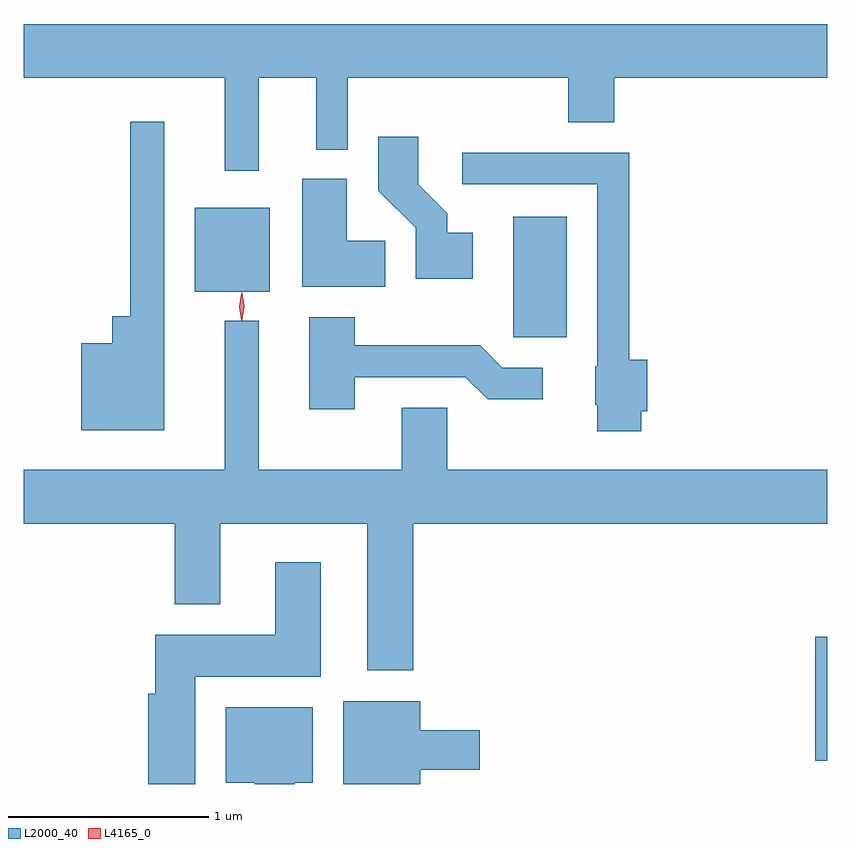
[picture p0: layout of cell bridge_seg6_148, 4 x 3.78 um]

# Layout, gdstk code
import gdstk
lib = gdstk.Library(unit=1e-6, precision=1e-09)
def R(c, l, rs):  # rectangles x0, y0, x1, y1
    for r in rs: c.add(gdstk.rectangle(r[:2], r[2:], *l))
def P(c, l, *ps):  # polygons
    for p in ps: c.add(gdstk.Polygon(p, *l))
L2000_40 = (2000, 40)
L4165_0 = (4165, 0)

bridge_seg6_148 = lib.new_cell('bridge_seg6_148')
R(bridge_seg6_148, L2000_40, [(1189.461,1584.376,1189.52,1584.994), (1187.956,1586.486,1188.224,1587.084), (1186.371,1586.711,1186.744,1587.129)])
P(bridge_seg6_148, L2000_40, [(1186.689,1587.776),(1186.976,1587.776),(1186.976,1587.418),(1187.134,1587.418),(1187.134,1587.776),(1188.231,1587.776),(1188.231,1587.556),(1188.459,1587.556),(1188.459,1587.776),(1189.52,1587.776),(1189.52,1588.044),(1185.52,1588.044),(1185.52,1587.776),(1186.521,1587.776),(1186.521,1587.313),(1186.689,1587.313)],
  [(1186.219,1587.558),(1186.051,1587.558),(1186.051,1586.589),(1185.961,1586.589),(1185.961,1586.454),(1185.806,1586.454),(1185.806,1586.021),(1186.219,1586.021)],
  [(1187.754,1587.004),(1187.629,1587.004),(1187.629,1587.102),(1187.484,1587.247),(1187.484,1587.484),(1187.286,1587.484),(1187.286,1587.214),(1187.471,1587.029),(1187.471,1586.776),(1187.754,1586.776)],
  [(1188.594,1586.116),(1188.624,1586.116),(1188.624,1586.374),(1188.534,1586.374),(1188.534,1587.404),(1187.703,1587.404),(1187.703,1587.246),(1188.376,1587.246),(1188.376,1586.34),(1188.366,1586.34),(1188.366,1586.15),(1188.376,1586.15),(1188.376,1586.016),(1188.594,1586.016)],
  [(1187.319,1586.964),(1187.129,1586.964),(1187.129,1587.274),(1186.906,1587.274),(1186.906,1586.736),(1187.319,1586.736)],
  [(1187.169,1586.286),(1187.719,1586.286),(1187.829,1586.176),(1188.103,1586.176),(1188.103,1586.334),(1187.902,1586.334),(1187.792,1586.444),(1187.169,1586.444),(1187.169,1586.584),(1186.941,1586.584),(1186.941,1586.126),(1187.169,1586.126)],
  [(1187.459,1585.556),(1189.52,1585.556),(1189.52,1585.824),(1187.629,1585.824),(1187.629,1586.134),(1187.401,1586.134),(1187.401,1585.824),(1186.689,1585.824),(1186.689,1586.568),(1186.521,1586.568),(1186.521,1585.824),(1185.52,1585.824),(1185.52,1585.556),(1186.271,1585.556),(1186.271,1585.156),(1186.499,1585.156),(1186.499,1585.556),(1187.231,1585.556),(1187.231,1584.826),(1187.459,1584.826)],
  [(1186.374,1584.796),(1186.999,1584.796),(1186.999,1585.364),(1186.771,1585.364),(1186.771,1585.004),(1186.176,1585.004),(1186.176,1584.709),(1186.141,1584.709),(1186.141,1584.261),(1186.374,1584.261)],
  [(1187.494,1584.331),(1187.789,1584.331),(1187.789,1584.529),(1187.494,1584.529),(1187.494,1584.674),(1187.111,1584.674),(1187.111,1584.261),(1187.494,1584.261)],
  [(1186.869,1584.266),(1186.959,1584.266),(1186.959,1584.644),(1186.526,1584.644),(1186.526,1584.266),(1186.671,1584.266),(1186.671,1584.261),(1186.869,1584.261)])
P(bridge_seg6_148, L4165_0, [(1186.607,1586.569),(1186.606,1586.57),(1186.597,1586.638),(1186.606,1586.706),(1186.607,1586.706),(1186.608,1586.706),(1186.617,1586.638),(1186.608,1586.57)],
  [(1186.603,1586.573),(1186.593,1586.637),(1186.602,1586.702),(1186.603,1586.702),(1186.603,1586.702),(1186.613,1586.637),(1186.604,1586.573),(1186.604,1586.573)])

lib.write_gds('bridge_seg6_148.gds')
